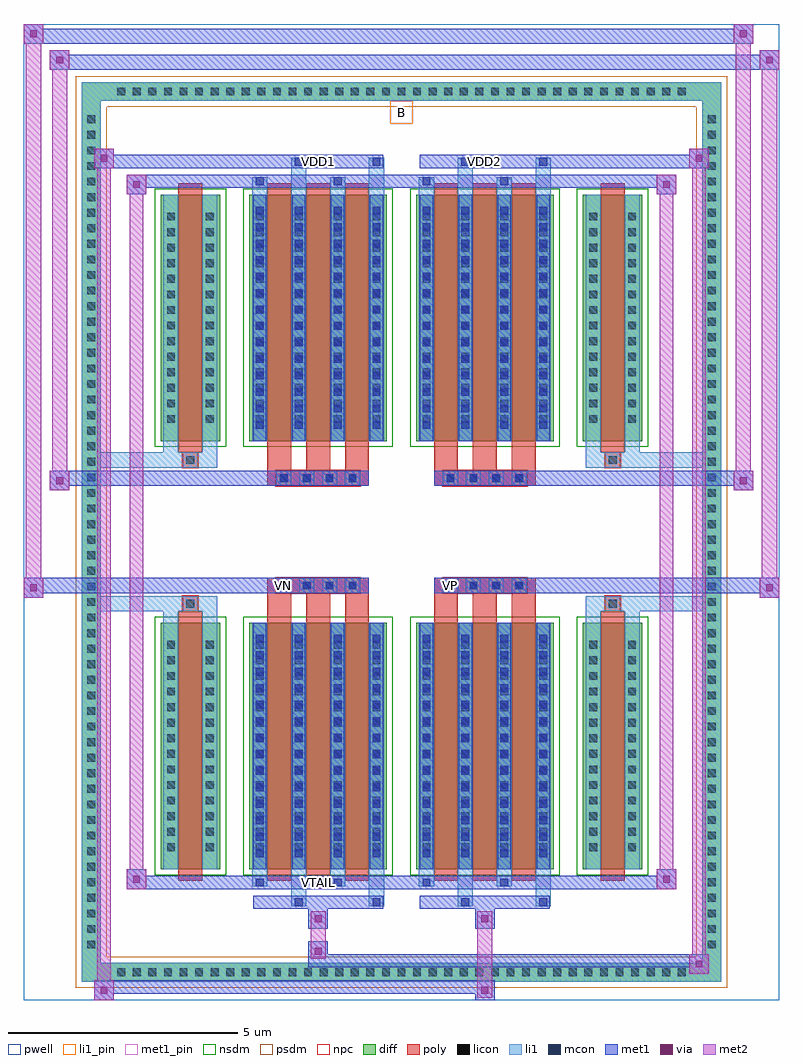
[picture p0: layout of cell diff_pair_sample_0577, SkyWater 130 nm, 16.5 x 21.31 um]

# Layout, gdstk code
import gdstk
lib = gdstk.Library(unit=1e-6, precision=5e-09)
def R(c, l, rs):  # rectangles x0, y0, x1, y1
    for r in rs: c.add(gdstk.rectangle(r[:2], r[2:], *l))
def A(c, l, x, y, w, h, nx, ny, dx, dy):  # array of equal rectangles
    R(c, l, [(x+i*dx, y+j*dy, x+i*dx+w, y+j*dy+h) for i in range(nx) for j in range(ny)])
def P(c, l, *ps):  # polygons
    for p in ps: c.add(gdstk.Polygon(p, *l))
pwell = (64, 44)
diff = (65, 20)
poly = (66, 20)
licon = (66, 44)
li1_pin = (67, 16)
li1 = (67, 20)
mcon = (67, 44)
met1_pin = (68, 16)
met1 = (68, 20)
via = (68, 44)
met2 = (69, 20)
nsdm = (93, 44)
psdm = (94, 20)
npc = (95, 20)

diff_pair_sample_0577 = lib.new_cell('diff_pair_sample_0577')
R(diff_pair_sample_0577, pwell, [(-8.25,-10.22,8.25,11.09), (-5.57,-8.41,-0.01,-0.805), (0.01,-8.41,5.57,-0.805), (-5.57,0.805,-0.01,8.41), (0.01,0.805,5.57,8.41)])
A(diff_pair_sample_0577, diff, -6.325, -9.82, 0.41, 0.41, 37, 2, 0.34, 19.23)
A(diff_pair_sample_0577, diff, -6.98, -9.215, 0.41, 0.41, 1, 54, 0, 0.34)
A(diff_pair_sample_0577, diff, 6.57, -9.215, 0.41, 0.41, 1, 54, 0, 0.34)
R(diff_pair_sample_0577, diff, [(-6.325,-9.82,6.325,-9.41), (-6.98,-9.215,-6.57,9.215), (6.57,-9.215,6.98,9.215), (-5.26,-7.365,-3.96,-1.985), (-3.32,-7.365,-0.32,-1.985), (0.32,-7.365,3.32,-1.985), (3.96,-7.365,5.26,-1.985), (-5.26,1.985,-3.96,7.365), (-3.32,1.985,-0.32,7.365), (0.32,1.985,3.32,7.365), (3.96,1.985,5.26,7.365), (-6.325,9.41,6.325,9.82)])
P(diff_pair_sample_0577, diff, [(6.98,9.82),(-6.98,9.82),(-6.98,-9.41),(-6.57,-9.41),(-6.57,9.41),(6.57,9.41),(6.57,-9.41),(-6.57,-9.41),(-6.98,-9.41),(-6.98,-9.82),(6.98,-9.82)])
A(diff_pair_sample_0577, poly, -2.93, -7.615, 0.52, 5.88, 3, 2, 0.85, 9.35)
A(diff_pair_sample_0577, poly, 0.71, -7.615, 0.52, 5.88, 3, 2, 0.85, 9.35)
A(diff_pair_sample_0577, poly, -2.93, -1.735, 0.52, 0.4, 3, 2, 0.85, 3.07)
A(diff_pair_sample_0577, poly, 0.71, -1.735, 0.52, 0.4, 3, 2, 0.85, 3.07)
A(diff_pair_sample_0577, poly, -2.735, -1.335, 0.33, 0.33, 4, 2, 0.5, 2.34)
A(diff_pair_sample_0577, poly, 0.905, -1.335, 0.33, 0.33, 4, 2, 0.5, 2.34)
R(diff_pair_sample_0577, poly, [(-4.87,-7.615,-4.35,-1.735), (4.35,-7.615,4.87,-1.735), (-4.775,-1.735,-4.445,-1.405), (-4.775,-1.735,-4.445,-1.405), (4.445,-1.735,4.775,-1.405), (4.445,-1.735,4.775,-1.405), (-2.93,-1.335,-0.71,-1.005), (0.71,-1.335,2.93,-1.005), (-2.93,1.005,-0.71,1.335), (0.71,1.005,2.93,1.335), (-4.775,1.405,-4.445,1.735), (-4.775,1.405,-4.445,1.735), (4.445,1.405,4.775,1.735), (4.445,1.405,4.775,1.735), (-4.87,1.735,-4.35,7.615), (4.35,1.735,4.87,7.615)])
A(diff_pair_sample_0577, licon, -6.205, -9.7, 0.17, 0.17, 37, 2, 0.34, 19.23)
A(diff_pair_sample_0577, licon, -6.86, -9.095, 0.17, 0.17, 1, 54, 0, 0.34)
A(diff_pair_sample_0577, licon, 6.69, -9.095, 0.17, 0.17, 1, 54, 0, 0.34)
A(diff_pair_sample_0577, licon, -5.12, -6.97, 0.17, 0.17, 1, 14, 0, 0.34)
A(diff_pair_sample_0577, licon, -4.27, -6.97, 0.17, 0.17, 1, 14, 0, 0.34)
A(diff_pair_sample_0577, licon, -3.18, -6.97, 0.17, 0.17, 4, 14, 0.85, 0.34)
A(diff_pair_sample_0577, licon, 0.46, -6.97, 0.17, 0.17, 4, 14, 0.85, 0.34)
A(diff_pair_sample_0577, licon, 4.1, -6.97, 0.17, 0.17, 1, 14, 0, 0.34)
A(diff_pair_sample_0577, licon, 4.95, -6.97, 0.17, 0.17, 1, 14, 0, 0.34)
A(diff_pair_sample_0577, licon, -2.655, -1.255, 0.17, 0.17, 4, 2, 0.5, 2.34)
A(diff_pair_sample_0577, licon, 0.985, -1.255, 0.17, 0.17, 4, 2, 0.5, 2.34)
A(diff_pair_sample_0577, licon, -5.12, 2.38, 0.17, 0.17, 1, 14, 0, 0.34)
A(diff_pair_sample_0577, licon, -4.27, 2.38, 0.17, 0.17, 1, 14, 0, 0.34)
A(diff_pair_sample_0577, licon, -3.18, 2.38, 0.17, 0.17, 4, 14, 0.85, 0.34)
A(diff_pair_sample_0577, licon, 0.46, 2.38, 0.17, 0.17, 4, 14, 0.85, 0.34)
A(diff_pair_sample_0577, licon, 4.1, 2.38, 0.17, 0.17, 1, 14, 0, 0.34)
A(diff_pair_sample_0577, licon, 4.95, 2.38, 0.17, 0.17, 1, 14, 0, 0.34)
R(diff_pair_sample_0577, licon, [(-4.695,-1.655,-4.525,-1.485), (4.525,-1.655,4.695,-1.485), (-4.695,1.485,-4.525,1.655), (4.525,1.485,4.695,1.655)])
R(diff_pair_sample_0577, li1_pin, [(-0.25,8.91,0.25,9.41)])
A(diff_pair_sample_0577, li1, -6.285, -9.78, 0.33, 0.33, 37, 2, 0.34, 19.23)
A(diff_pair_sample_0577, li1, -6.94, -9.175, 0.33, 0.33, 1, 54, 0, 0.34)
A(diff_pair_sample_0577, li1, 6.61, -9.175, 0.33, 0.33, 1, 54, 0, 0.34)
A(diff_pair_sample_0577, li1, -3.26, -7.365, 0.33, 5.38, 4, 2, 0.85, 9.35)
A(diff_pair_sample_0577, li1, 0.38, -7.365, 0.33, 5.38, 4, 2, 0.85, 9.35)
A(diff_pair_sample_0577, li1, -3.18, -7.1, 0.17, 0.17, 4, 14, 0.85, 0.36)
A(diff_pair_sample_0577, li1, -3.18, -7.1, 0.17, 4.85, 4, 2, 0.85, 9.35)
A(diff_pair_sample_0577, li1, 0.46, -7.1, 0.17, 0.17, 4, 14, 0.85, 0.36)
A(diff_pair_sample_0577, li1, 0.46, -7.1, 0.17, 4.85, 4, 2, 0.85, 9.35)
A(diff_pair_sample_0577, li1, -5.2, -7.05, 0.33, 0.33, 1, 14, 0, 0.34)
A(diff_pair_sample_0577, li1, -4.35, -7.05, 0.33, 0.33, 1, 14, 0, 0.34)
A(diff_pair_sample_0577, li1, -3.26, -7.05, 0.33, 0.33, 4, 14, 0.85, 0.34)
A(diff_pair_sample_0577, li1, 0.38, -7.05, 0.33, 0.33, 4, 14, 0.85, 0.34)
A(diff_pair_sample_0577, li1, 4.02, -7.05, 0.33, 0.33, 1, 14, 0, 0.34)
A(diff_pair_sample_0577, li1, 4.87, -7.05, 0.33, 0.33, 1, 14, 0, 0.34)
A(diff_pair_sample_0577, li1, -2.735, -1.335, 0.33, 0.33, 4, 2, 0.5, 2.34)
A(diff_pair_sample_0577, li1, 0.905, -1.335, 0.33, 0.33, 4, 2, 0.5, 2.34)
A(diff_pair_sample_0577, li1, -3.18, 2.25, 0.17, 0.17, 4, 14, 0.85, 0.36)
A(diff_pair_sample_0577, li1, 0.46, 2.25, 0.17, 0.17, 4, 14, 0.85, 0.36)
A(diff_pair_sample_0577, li1, -5.2, 2.3, 0.33, 0.33, 1, 14, 0, 0.34)
A(diff_pair_sample_0577, li1, -4.35, 2.3, 0.33, 0.33, 1, 14, 0, 0.34)
A(diff_pair_sample_0577, li1, -3.26, 2.3, 0.33, 0.33, 4, 14, 0.85, 0.34)
A(diff_pair_sample_0577, li1, 0.38, 2.3, 0.33, 0.33, 4, 14, 0.85, 0.34)
A(diff_pair_sample_0577, li1, 4.02, 2.3, 0.33, 0.33, 1, 14, 0, 0.34)
A(diff_pair_sample_0577, li1, 4.87, 2.3, 0.33, 0.33, 1, 14, 0, 0.34)
R(diff_pair_sample_0577, li1, [(-6.98,-9.82,-6.57,-9.41), (-6.98,-9.82,-6.57,-9.41), (-6.57,-9.82,6.57,-9.41), (6.57,-9.82,6.98,-9.41), (6.57,-9.82,6.98,-9.41), (-6.98,-9.41,-6.57,9.41), (6.57,-9.41,6.98,9.41), (-2.41,-8.17,-2.08,-7.365), (-2.33,-8.17,-2.16,-8), (-0.71,-8.17,-0.38,-7.365), (-0.63,-8.17,-0.46,-8), (1.23,-8.17,1.56,-7.365), (1.31,-8.17,1.48,-8), (2.93,-8.17,3.26,-7.365), (3.01,-8.17,3.18,-8), (-3.26,-7.74,-2.93,-7.365), (-3.18,-7.74,-3.01,-7.57), (-1.56,-7.74,-1.23,-7.365), (-1.48,-7.74,-1.31,-7.57), (0.38,-7.74,0.71,-7.365), (0.46,-7.74,0.63,-7.57), (2.08,-7.74,2.41,-7.365), (2.16,-7.74,2.33,-7.57), (-5.2,-7.365,-4.87,-1.985), (-4.35,-7.365,-4.02,-1.985), (4.02,-7.365,4.35,-1.985), (4.87,-7.365,5.2,-1.985), (-5.2,-1.985,-4.87,-1.405), (-4.35,-1.985,-4.02,-1.405), (4.02,-1.985,4.35,-1.405), (4.87,-1.985,5.2,-1.405), (-6.98,-1.735,-4.775,-1.405), (-5.2,-1.735,-4.775,-1.405), (-4.775,-1.735,-4.445,-1.405), (-4.445,-1.735,-4.02,-1.405), (4.02,-1.735,4.445,-1.405), (4.445,-1.735,4.775,-1.405), (4.445,-1.735,6.98,-1.405), (4.775,-1.735,5.2,-1.405), (-6.98,1.405,-4.775,1.735), (-5.2,1.405,-4.775,1.735), (-5.2,1.405,-4.87,1.985), (-4.775,1.405,-4.445,1.735), (-4.445,1.405,-4.02,1.735), (-4.35,1.405,-4.02,1.985), (4.02,1.405,4.445,1.735), (4.02,1.405,4.35,1.985), (4.445,1.405,4.775,1.735), (4.445,1.405,6.98,1.735), (4.775,1.405,5.2,1.735), (4.87,1.405,5.2,1.985), (-5.2,1.985,-4.87,7.365), (-4.35,1.985,-4.02,7.365), (4.02,1.985,4.35,7.365), (4.87,1.985,5.2,7.365), (-3.26,7.365,-2.93,7.74), (-2.41,7.365,-2.08,8.17), (-1.56,7.365,-1.23,7.74), (-0.71,7.365,-0.38,8.17), (0.38,7.365,0.71,7.74), (1.23,7.365,1.56,8.17), (2.08,7.365,2.41,7.74), (2.93,7.365,3.26,8.17), (-3.18,7.57,-3.01,7.74), (-1.48,7.57,-1.31,7.74), (0.46,7.57,0.63,7.74), (2.16,7.57,2.33,7.74), (-2.33,8,-2.16,8.17), (-0.63,8,-0.46,8.17), (1.31,8,1.48,8.17), (3.01,8,3.18,8.17), (-6.98,9.41,-6.57,9.82), (-6.98,9.41,-6.57,9.82), (-6.57,9.41,6.57,9.82), (6.57,9.41,6.98,9.82), (6.57,9.41,6.98,9.82)])
A(diff_pair_sample_0577, mcon, -3.18, -7.1, 0.17, 0.17, 4, 14, 0.85, 0.36)
A(diff_pair_sample_0577, mcon, 0.46, -7.1, 0.17, 0.17, 4, 14, 0.85, 0.36)
A(diff_pair_sample_0577, mcon, -2.655, -1.255, 0.17, 0.17, 4, 2, 0.5, 2.34)
A(diff_pair_sample_0577, mcon, 0.985, -1.255, 0.17, 0.17, 4, 2, 0.5, 2.34)
A(diff_pair_sample_0577, mcon, -3.18, 2.25, 0.17, 0.17, 4, 14, 0.85, 0.36)
A(diff_pair_sample_0577, mcon, 0.46, 2.25, 0.17, 0.17, 4, 14, 0.85, 0.36)
R(diff_pair_sample_0577, mcon, [(-2.33,-8.17,-2.16,-8), (-0.63,-8.17,-0.46,-8), (1.31,-8.17,1.48,-8), (3.01,-8.17,3.18,-8), (-3.18,-7.74,-3.01,-7.57), (-1.48,-7.74,-1.31,-7.57), (0.46,-7.74,0.63,-7.57), (2.16,-7.74,2.33,-7.57), (-3.18,7.57,-3.01,7.74), (-1.48,7.57,-1.31,7.74), (0.46,7.57,0.63,7.74), (2.16,7.57,2.33,7.74), (-2.33,8,-2.16,8.17), (-0.63,8,-0.46,8.17), (1.31,8,1.48,8.17), (3.01,8,3.18,8.17)])
R(diff_pair_sample_0577, met1_pin, [(-1.955,-7.78,-1.685,-7.51), (-2.705,-1.295,-2.435,-1.025), (0.935,-1.295,1.205,-1.025), (-1.955,7.96,-1.685,8.23), (1.685,7.96,1.955,8.23)])
A(diff_pair_sample_0577, met1, -3.24, -7.365, 0.29, 5.38, 4, 2, 0.85, 9.35)
A(diff_pair_sample_0577, met1, 0.4, -7.365, 0.29, 5.38, 4, 2, 0.85, 9.35)
A(diff_pair_sample_0577, met1, -3.24, -7.16, 0.29, 0.29, 4, 14, 0.85, 0.36)
A(diff_pair_sample_0577, met1, 0.4, -7.16, 0.29, 0.29, 4, 14, 0.85, 0.36)
A(diff_pair_sample_0577, met1, -2.715, -1.315, 0.29, 0.29, 4, 2, 0.5, 2.34)
A(diff_pair_sample_0577, met1, 0.925, -1.315, 0.29, 0.29, 4, 2, 0.5, 2.34)
A(diff_pair_sample_0577, met1, -3.24, 2.19, 0.29, 0.29, 4, 14, 0.85, 0.36)
A(diff_pair_sample_0577, met1, 0.4, 2.19, 0.29, 0.29, 4, 14, 0.85, 0.36)
R(diff_pair_sample_0577, met1, [(-6.71,-10.22,-6.28,-9.79), (1.605,-10.22,2.035,-9.79), (-6.71,-10.08,2.035,-9.79), (6.28,-9.65,6.71,-9.22), (-2.035,-9.51,6.71,-9.22), (-2.035,-9.37,-1.605,-8.94), (-2.035,-8.66,-1.605,-8.23), (1.605,-8.66,2.035,-8.23), (-3.24,-8.23,-0.4,-7.94), (-2.39,-8.23,-2.1,-7.94), (-0.69,-8.23,-0.4,-7.94), (0.4,-8.23,3.24,-7.94), (1.25,-8.23,1.54,-7.94), (2.95,-8.23,3.24,-7.94), (-6,-7.8,-5.57,-7.37), (-6,-7.8,-3.24,-7.51), (-3.24,-7.8,-2.95,-7.51), (-3.24,-7.8,-0.4,-7.51), (-1.54,-7.8,-1.25,-7.51), (-0.4,-7.8,0.4,-7.51), (0.4,-7.8,0.69,-7.51), (0.4,-7.8,3.24,-7.51), (2.1,-7.8,2.39,-7.51), (3.24,-7.8,6,-7.51), (5.57,-7.8,6,-7.37), (-8.25,-1.435,-7.82,-1.005), (7.82,-1.435,8.25,-1.005), (-8.25,-1.335,-0.71,-1.005), (-2.93,-1.335,-0.71,-1.005), (0.71,-1.335,2.93,-1.005), (0.71,-1.335,8.25,-1.005), (-7.68,0.905,-7.25,1.335), (7.25,0.905,7.68,1.335), (-7.68,1.005,-2.93,1.335), (-2.93,1.005,-0.71,1.335), (0.71,1.005,2.93,1.335), (2.93,1.005,7.68,1.335), (-6,7.37,-5.57,7.8), (5.57,7.37,6,7.8), (-6,7.51,-3.24,7.8), (-3.24,7.51,-2.95,7.8), (-3.24,7.51,-0.4,7.8), (-1.54,7.51,-1.25,7.8), (-0.4,7.51,0.4,7.8), (0.4,7.51,0.69,7.8), (0.4,7.51,3.24,7.8), (2.1,7.51,2.39,7.8), (3.24,7.51,6,7.8), (-6.71,7.94,-6.28,8.37), (-6.71,7.94,-3.24,8.23), (-3.24,7.94,-0.4,8.23), (-2.39,7.94,-2.1,8.23), (-0.69,7.94,-0.4,8.23), (0.4,7.94,3.24,8.23), (1.25,7.94,1.54,8.23), (2.95,7.94,3.24,8.23), (3.24,7.94,6.71,8.23), (6.28,7.94,6.71,8.37), (-7.68,10.09,-7.25,10.52), (-7.68,10.09,-5.57,10.42), (-5.57,10.09,5.57,10.42), (5.57,10.09,8.25,10.42), (7.82,10.09,8.25,10.52), (-8.25,10.66,-7.82,11.09), (-8.25,10.66,-5.57,10.99), (-5.57,10.66,5.57,10.99), (5.57,10.66,7.68,10.99), (7.25,10.66,7.68,11.09)])
R(diff_pair_sample_0577, via, [(-6.57,-10.08,-6.42,-9.93), (1.745,-10.08,1.895,-9.93), (6.42,-9.51,6.57,-9.36), (-1.895,-9.23,-1.745,-9.08), (-1.895,-8.52,-1.745,-8.37), (1.745,-8.52,1.895,-8.37), (-5.86,-7.66,-5.71,-7.51), (5.71,-7.66,5.86,-7.51), (-8.11,-1.295,-7.96,-1.145), (7.96,-1.295,8.11,-1.145), (-7.54,1.045,-7.39,1.195), (7.39,1.045,7.54,1.195), (-5.86,7.51,-5.71,7.66), (5.71,7.51,5.86,7.66), (-6.57,8.08,-6.42,8.23), (6.42,8.08,6.57,8.23), (-7.54,10.23,-7.39,10.38), (7.96,10.23,8.11,10.38), (-8.11,10.8,-7.96,10.95), (7.39,10.8,7.54,10.95)])
R(diff_pair_sample_0577, met2, [(-6.71,-10.22,-6.28,-9.79), (-6.64,-10.22,-6.35,8.37), (-6.35,-10.22,-6.28,-9.79), (-6.66,-10.17,-6.33,-9.84), (1.655,-10.17,1.985,-9.84), (1.655,-9.84,1.985,-8.61), (6.28,-9.65,6.71,-9.22), (6.35,-9.65,6.64,8.37), (6.64,-9.65,6.71,-9.22), (6.33,-9.6,6.66,-9.27), (-1.985,-9.32,-1.655,-8.99), (-1.985,-8.99,-1.655,-8.61), (-1.985,-8.61,-1.655,-8.28), (1.655,-8.61,1.985,-8.28), (-6,-7.8,-5.57,-7.37), (-5.93,-7.8,-5.64,7.8), (-5.64,-7.8,-5.57,-7.37), (5.57,-7.8,6,-7.37), (5.64,-7.8,5.93,7.8), (5.93,-7.8,6,-7.37), (-5.95,-7.75,-5.62,-7.42), (5.62,-7.75,5.95,-7.42), (-8.25,-1.435,-7.82,-1.005), (-8.2,-1.435,-7.87,11.09), (-7.87,-1.435,-7.82,-1.005), (7.82,-1.435,8.25,-1.005), (7.87,-1.435,8.2,10.52), (8.2,-1.435,8.25,-1.005), (-8.2,-1.385,-7.87,-1.055), (7.87,-1.385,8.2,-1.055), (-7.68,0.905,-7.25,1.335), (-7.63,0.905,-7.3,10.52), (-7.3,0.905,-7.25,1.335), (7.25,0.905,7.68,1.335), (7.3,0.905,7.63,11.09), (7.63,0.905,7.68,1.335), (-7.63,0.955,-7.3,1.285), (7.3,0.955,7.63,1.285), (-6,7.37,-5.57,7.8), (-5.64,7.37,-5.57,7.8), (5.57,7.37,6,7.8), (5.93,7.37,6,7.8), (-5.95,7.42,-5.62,7.75), (5.62,7.42,5.95,7.75), (-6.71,7.94,-6.28,8.37), (-6.35,7.94,-6.28,8.37), (6.28,7.94,6.71,8.37), (6.64,7.94,6.71,8.37), (-6.66,7.99,-6.33,8.32), (6.33,7.99,6.66,8.32), (-7.68,10.09,-7.25,10.52), (-7.3,10.09,-7.25,10.52), (7.82,10.09,8.25,10.52), (8.2,10.09,8.25,10.52), (-7.63,10.14,-7.3,10.47), (7.87,10.14,8.2,10.47), (-8.25,10.66,-7.82,11.09), (-7.87,10.66,-7.82,11.09), (7.25,10.66,7.68,11.09), (7.63,10.66,7.68,11.09), (-8.2,10.71,-7.87,11.04), (7.3,10.71,7.63,11.04)])
R(diff_pair_sample_0577, nsdm, [(-5.39,-7.495,-3.83,-1.855), (-3.45,-7.495,-0.19,-1.855), (0.19,-7.495,3.45,-1.855), (3.83,-7.495,5.39,-1.855), (-5.39,1.855,-3.83,7.495), (-3.45,1.855,-0.19,7.495), (0.19,1.855,3.45,7.495), (3.83,1.855,5.39,7.495)])
P(diff_pair_sample_0577, psdm, [(7.11,9.95),(-7.11,9.95),(-7.11,-9.28),(-6.44,-9.28),(-6.44,9.28),(6.44,9.28),(6.44,-9.28),(-6.44,-9.28),(-7.11,-9.28),(-7.11,-9.95),(7.11,-9.95)])
A(diff_pair_sample_0577, npc, -2.755, -1.355, 0.37, 0.37, 4, 2, 0.5, 2.34)
A(diff_pair_sample_0577, npc, 0.885, -1.355, 0.37, 0.37, 4, 2, 0.5, 2.34)
R(diff_pair_sample_0577, npc, [(-4.795,-1.755,-4.425,-1.385), (4.425,-1.755,4.795,-1.385), (-2.755,-1.355,-1.885,-0.985), (-2.755,-1.355,-1.885,-0.985), (-2.255,-1.355,-1.385,-0.985), (-2.255,-1.355,-1.385,-0.985), (-1.755,-1.355,-0.885,-0.985), (-1.755,-1.355,-0.885,-0.985), (0.885,-1.355,1.755,-0.985), (0.885,-1.355,1.755,-0.985), (1.385,-1.355,2.255,-0.985), (1.385,-1.355,2.255,-0.985), (1.885,-1.355,2.755,-0.985), (1.885,-1.355,2.755,-0.985), (-2.755,0.985,-1.885,1.355), (-2.755,0.985,-1.885,1.355), (-2.255,0.985,-1.385,1.355), (-2.255,0.985,-1.385,1.355), (-1.755,0.985,-0.885,1.355), (-1.755,0.985,-0.885,1.355), (0.885,0.985,1.755,1.355), (0.885,0.985,1.755,1.355), (1.385,0.985,2.255,1.355), (1.385,0.985,2.255,1.355), (1.885,0.985,2.755,1.355), (1.885,0.985,2.755,1.355), (-4.795,1.385,-4.425,1.755), (4.425,1.385,4.795,1.755)])
diff_pair_sample_0577.add(gdstk.Label('VTAIL', (-1.82,-7.645), layer=68, texttype=5))
diff_pair_sample_0577.add(gdstk.Label('VN', (-2.57,-1.16), layer=68, texttype=5))
diff_pair_sample_0577.add(gdstk.Label('VP', (1.07,-1.16), layer=68, texttype=5))
diff_pair_sample_0577.add(gdstk.Label('B', (0,9.16), layer=67, texttype=5))
diff_pair_sample_0577.add(gdstk.Label('VDD2', (1.82,8.095), layer=68, texttype=5))
diff_pair_sample_0577.add(gdstk.Label('VDD1', (-1.82,8.095), layer=68, texttype=5))

lib.write_gds('diff_pair_sample_0577.gds')
